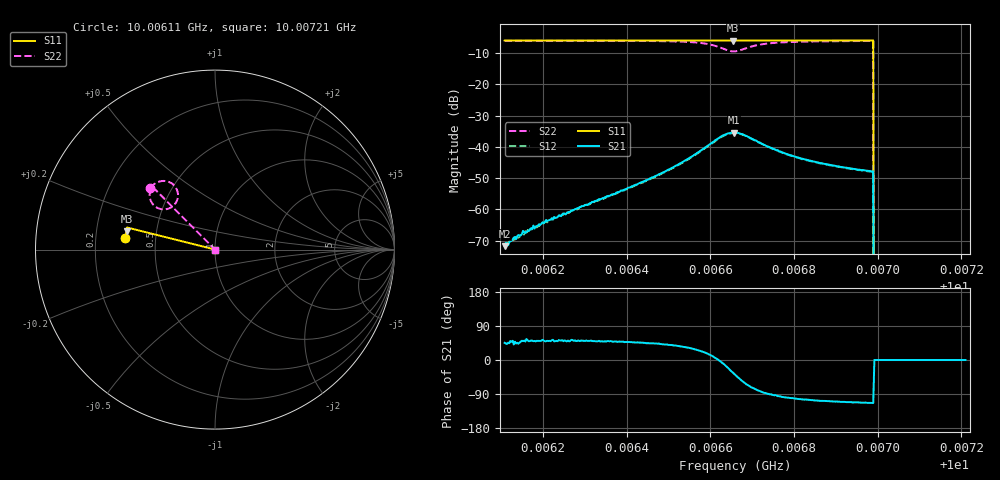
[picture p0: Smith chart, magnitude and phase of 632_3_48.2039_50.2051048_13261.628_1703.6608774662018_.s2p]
#  HZ  S  RI  R  50.00
! Rohde & Schwarz Vector Network Analyzer
! Rohde-Schwarz,ZNB20-2Port,1311601062101988,3.16
! Created: UTC 3/20/2024, 12:04:22 PM
! freq[Hz]  re:S11  im:S11  re:S21  im:S21  re:S12  im:S12  re:S22  im:S22
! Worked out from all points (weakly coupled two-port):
!   401 points, 10.00611 GHz to 10.00721 GHz, reference 50 ohm
!   highest |S21| = -35.41 dB at 10.00666 GHz (marker M1); lowest = -71.8 dB at 10.00611 GHz (marker M2)
!   lowest |S11| = -6.0 dB at 10.00665 GHz (marker M3), VSWR 3.02, Z = 16.7 + j4.55 ohm
!   |S11| at or under -10 dB: 10.00699 GHz to end of sweep
!   |S22| runs from - to -6.0 dB; largest |S21 - S12| = 0.0012
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1.0006108e10  -0.4988 0.0674  0.000181 0.000183  0.000184 0.000214  -0.3623 0.3429
1.0006122e10  -0.4987 0.0682  0.000197 0.000236  0.000187 0.000253  -0.3614 0.3439
1.0006127e10  -0.4986 0.0686  0.00021 0.000257  0.00019 0.000239  -0.3611 0.3442
1.0006147e10  -0.4985 0.0699  0.000255 0.000287  0.000261 0.000311  -0.3599 0.3456
1.0006202e10  -0.4981 0.0733  0.000377 0.000468  0.000361 0.000475  -0.3559 0.3497
1.0006293e10  -0.4973 0.0794  0.00071 0.000882  0.000623 0.000894  -0.3483 0.3571
1.0006375e10  -0.4966 0.0847  0.00123 0.00139  0.00113 0.00139  -0.3385 0.3647
1.0006477e10  -0.4955 0.0915  0.00266 0.00251  0.00248 0.00254  -0.318 0.3763
1.0006535e10  -0.4947 0.0953  0.00478 0.00331  0.00445 0.00344  -0.294 0.3824
1.0006593e10  -0.4936 0.0991  0.0099 0.00302  0.00944 0.00346  -0.2439 0.3708
1.0006631e10  -0.4926 0.1011  0.0151 -0.00266  0.0148 -0.00163  -0.2063 0.3082
1.0006653e10  -0.492 0.1018  0.0142 -0.0092  0.0145 -0.00813  -0.2264 0.2501
1.0006656e10  -0.4922 0.1019  0.0138 -0.00992  0.0141 -0.00882  -0.2323 0.2442
1.0006659e10  -0.4921 0.102  0.0132 -0.0105  0.0135 -0.00952  -0.2386 0.239
1.0006686e10  -0.4925 0.1034  0.00639 -0.0134  0.00742 -0.0128  -0.3067 0.2269
1.0006722e10  -0.4927 0.1057  0.00123 -0.0113  0.00182 -0.0111  -0.3519 0.2606
1.0006777e10  -0.4923 0.1095  -0.00115 -0.00782  -0.000698 -0.00777  -0.3643 0.301
1.0006843e10  -0.4916 0.1138  -0.00162 -0.00566  -0.00132 -0.00567  -0.3612 0.3261
1.0006984e10  -0.4898 0.1229  -0.00163 -0.00372  -0.00136 -0.00379  -0.3501 0.3506
1.0006998e10  0 0  0 0  0 0  0 0
1.0007028e10  0 0  0 0  0 0  0 0
1.000721e10  0 0  0 0  0 0  0 0
